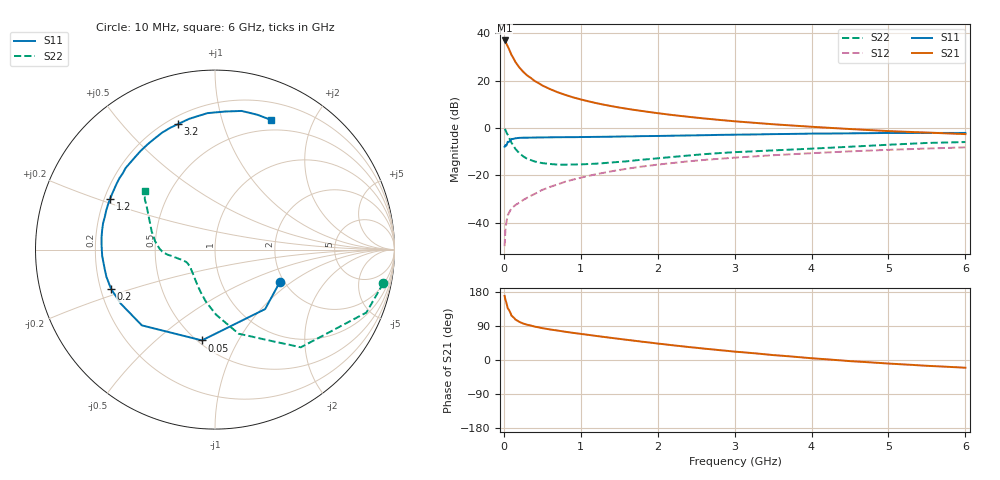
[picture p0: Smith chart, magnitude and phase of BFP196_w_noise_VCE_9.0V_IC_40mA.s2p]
! Infineon Technologies  Discrete & RF Semiconductors
! BFP196
! VCE =  9.0 V,  IC =  40 mA
! Common Emitter S-Parameters:  Jan 2017
# GHz  S  MA  R  50
!  f  S11  S21  S12  S22
! GHz  MAG  ANG  MAG  ANG  MAG  ANG  MAG  ANG
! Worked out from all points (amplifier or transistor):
!   77 points, 10 MHz to 6 GHz, reference 50 ohm
!   highest |S21| = 37.0 dB at 10 MHz (marker M1)
!   |S21| within 3 dB of that: start of sweep to 57.83 MHz
!   unconditionally stable (mu >= 1): 639.6 MHz to 2.411 GHz
!   at 130 MHz: K = 0.53, MSG = 31.1 dB, |S12| = -33.1 dB
!   at 2.2 GHz: K = 1.01, MAG = 9.4 dB, |S12| = -14.8 dB
!   at 6 GHz: K = 0.93, MSG = 2.8 dB, |S12| = -8.2 dB
!   lowest NFmin = 1.34 dB at 450 MHz
!   S11 on the Smith chart (normalised r, x): 10 MHz: 1.91, -0.82; 50 MHz: 0.53, -0.72; 200 MHz: 0.24, -0.17; 1.2 GHz: 0.22, +0.22; 3.2 GHz: 0.24, +0.72; 6 GHz: 0.38, +1.45
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0.01  0.4041 -26.3  70.5 169.1  0.0032 80.5  0.9563 -11.3
0.02  0.4334 -49.9  67.9 159.6  0.0069 75.8  0.9133 -22.6
0.05  0.5111 -98.2  53.09 136.8  0.0143 57.8  0.7246 -48.7
0.1  0.5868 -134.0  34.76 116.8  0.0201 52.1  0.487 -74.3
0.15  0.6056 -150.3  24.8 106.9  0.0236 49.9  0.3623 -89.1
0.2  0.6188 -159.2  19.12 100.8  0.0265 53.4  0.2952 -99.8
0.25  0.6237 -165.8  15.48 96.3  0.0301 54.7  0.2533 -107.8
0.3  0.6241 -170.3  12.99 93.2  0.0335 57.0  0.2259 -114.8
0.4  0.6296 -176.9  9.862 88.1  0.0405 60.3  0.1966 -124.9
0.5  0.6322 178.0  7.911 84.1  0.0493 62.5  0.1815 -132.9
0.6  0.6358 173.7  6.63 80.6  0.057 63.1  0.1739 -139.3
0.7  0.6381 170.2  5.688 77.7  0.0645 64.2  0.1688 -143.9
0.9  0.6405 163.3  4.435 71.6  0.0814 63.9  0.1696 -150.5
1.1  0.6467 157.2  3.654 66.3  0.0975 63.0  0.1734 -155.6
1.2  0.6493 154.3  3.355 63.5  0.1058 62.1  0.1766 -157.6
1.6  0.6648 143.1  2.546 53.2  0.1379 58.1  0.1982 -164.0
2.1  0.6828 129.7  1.962 41.2  0.1756 52.0  0.2373 -170.6
3.1  0.7256 108.3  1.346 20.5  0.2422 39.3  0.3141 177.6
3.2  0.7288 106.5  1.308 18.8  0.248 38.2  0.3195 176.2
4.1  0.7624 91.7  1.038 3.2  0.2992 27.6  0.3733 162.2
5.1  0.786 77.8  0.848 -10.5  0.3502 16.0  0.4509 147.7
6  0.787 66.6  0.743 -20.4  0.39 6.0  0.505 140.1
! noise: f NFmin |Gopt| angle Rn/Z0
0.45  1.34  0.36  177  0.05
0.9  1.49  0.46  -167  0.07
1.9  2.31  0.68  -133  0.28
2.4  2.71  0.7  -120  0.62
